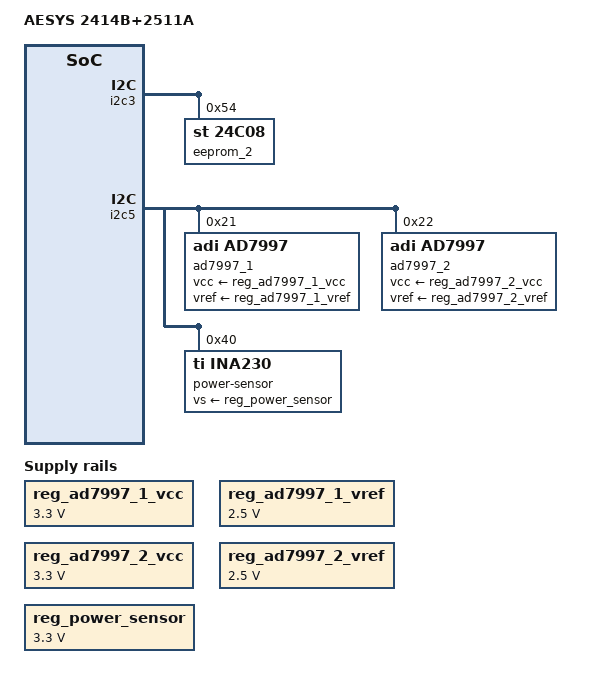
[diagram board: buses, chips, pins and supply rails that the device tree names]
// SPDX-License-Identifier: (GPL-2.0+ OR MIT)

/dts-v1/;

#include "aesys_2414_2g.dtsi"

/ {
    model = "AESYS 2414B+2511A";
    
    reg_ad7997_1_vcc: regulator-ad7997-1-vcc {
        compatible = "regulator-fixed";
        regulator-name = "AD7997_1_VCC";
        regulator-min-microvolt = <3300000>;
        regulator-max-microvolt = <3300000>;
        enable-active-high;
        regulator-always-on;
    };
    
    reg_ad7997_1_vref: regulator-ad7997-1-vref {
        compatible = "regulator-fixed";
        regulator-name = "AD7997_1_VREF";
        regulator-min-microvolt = <2500000>;
        regulator-max-microvolt = <2500000>;
        enable-active-high;
        regulator-always-on;
    };
    
    reg_ad7997_2_vcc: regulator-ad7997-2-vcc {
        compatible = "regulator-fixed";
        regulator-name = "AD7997_2_VCC";
        regulator-min-microvolt = <3300000>;
        regulator-max-microvolt = <3300000>;
        enable-active-high;
        regulator-always-on;
    };
    
    reg_ad7997_2_vref: regulator-ad7997-2-vref {
        compatible = "regulator-fixed";
        regulator-name = "AD7997_2_VREF";
        regulator-min-microvolt = <2500000>;
        regulator-max-microvolt = <2500000>;
        enable-active-high;
        regulator-always-on;
    };

    reg_power_sensor: regulator-power-sensor {
        compatible = "regulator-fixed";
        regulator-name = "IN230_VS";
        regulator-min-microvolt = <3300000>;
        regulator-max-microvolt = <3300000>;
        enable-active-high;
        regulator-always-on;
    };
};

&i2c3 {
    /* ST 24C08 EEPROM */
    eeprom_2: eeprom_2@54 {
        compatible = "st,24c08";
        reg = <0x54>;
        pagesize = <16>;
        num-addresses = <4>;
    };
};

&i2c5 {
    /* Analog Devices AD7997 ADC 1 */
    ad7997_1: ad799x@21 {
        compatible = "adi,ad7997";
        reg = <0x21>;
        vcc-supply = <&reg_ad7997_1_vcc>;
        vref-supply = <&reg_ad7997_1_vref>;
    };
    
    /* Analog Devices AD7997 ADC 2 */
    ad7997_2: ad799x@22 {
        compatible = "adi,ad7997";
        reg = <0x22>;
        vcc-supply = <&reg_ad7997_2_vcc>;
        vref-supply = <&reg_ad7997_2_vref>;
    };

    /* Power sensor TI INA230 */
    power-sensor@40 {
        compatible = "ti,ina230";
        reg = <0x40>;
        vs-supply = <&reg_power_sensor>;
        shunt-resistor = <200000>;
    };
};

&mipi_dsi_panel {
    /delete-property/ reset-gpios;
    /delete-property/ power-gpios;
    /delete-property/ updn-gpios;
    /delete-property/ shlr-gpios;
};

&iomuxc {
    pinctrl-names = "default";
    pinctrl-0 = <&pinctrl_emmc_gpios &pinctrl_pin_hwrev_gpios &pinctrl_pin_gpios &pinctrl_pin_gpios_2511>;
    
    pinctrl_pin_gpios_2511: pin_gpios_2511 {
        fsl,pins = <
        MX8MP_IOMUXC_SAI2_TXC__GPIO4_IO25       0x00000006

        MX8MP_IOMUXC_SAI1_RXC__GPIO4_IO01       0x00000006
        MX8MP_IOMUXC_SAI1_RXFS__GPIO4_IO00      0x00000006
        
        MX8MP_IOMUXC_SAI1_RXD0__GPIO4_IO02      0x00000006
        MX8MP_IOMUXC_SAI1_RXD1__GPIO4_IO03      0x00000006
        
        MX8MP_IOMUXC_SAI5_RXD1__GPIO3_IO22      0x00000006
        
        MX8MP_IOMUXC_SD1_DATA4__GPIO2_IO06      0x00000006
        MX8MP_IOMUXC_GPIO1_IO05__GPIO1_IO05     0x00000006
        MX8MP_IOMUXC_SD1_DATA5__GPIO2_IO07      0x00000006
        MX8MP_IOMUXC_SAI3_RXC__GPIO4_IO29       0x00000006
        MX8MP_IOMUXC_SD1_DATA6__GPIO2_IO08      0x00000006
        MX8MP_IOMUXC_SPDIF_EXT_CLK__GPIO5_IO05  0x00000006
        MX8MP_IOMUXC_UART3_RXD__GPIO5_IO26      0x00000006
        MX8MP_IOMUXC_SD1_DATA7__GPIO2_IO09      0x00000006
        
        MX8MP_IOMUXC_SAI1_MCLK__GPIO4_IO20      0x00000006

        MX8MP_IOMUXC_SAI1_TXD7__GPIO4_IO19      0x00000006
        MX8MP_IOMUXC_SAI5_RXFS__GPIO3_IO19      0x00000006
        MX8MP_IOMUXC_SAI5_RXD3__GPIO3_IO24      0x00000006
        MX8MP_IOMUXC_SAI5_MCLK__GPIO3_IO25      0x00000006
        
        MX8MP_IOMUXC_SD1_RESET_B__GPIO2_IO10    0x00000006
        MX8MP_IOMUXC_SD1_DATA3__GPIO2_IO05      0x00000006
        MX8MP_IOMUXC_SD1_CLK__GPIO2_IO00        0x00000006
        MX8MP_IOMUXC_SD1_DATA1__GPIO2_IO03      0x00000006
        MX8MP_IOMUXC_SD1_DATA2__GPIO2_IO04      0x00000006
        MX8MP_IOMUXC_SD1_CMD__GPIO2_IO01        0x00000006
        MX8MP_IOMUXC_SD1_DATA0__GPIO2_IO02      0x00000006
        >;
    };
};

&touchscreen {
    status = "disabled";
};

&usdhc1 {
    status = "disabled";
};

&sai1 {
    status = "disabled";
};

